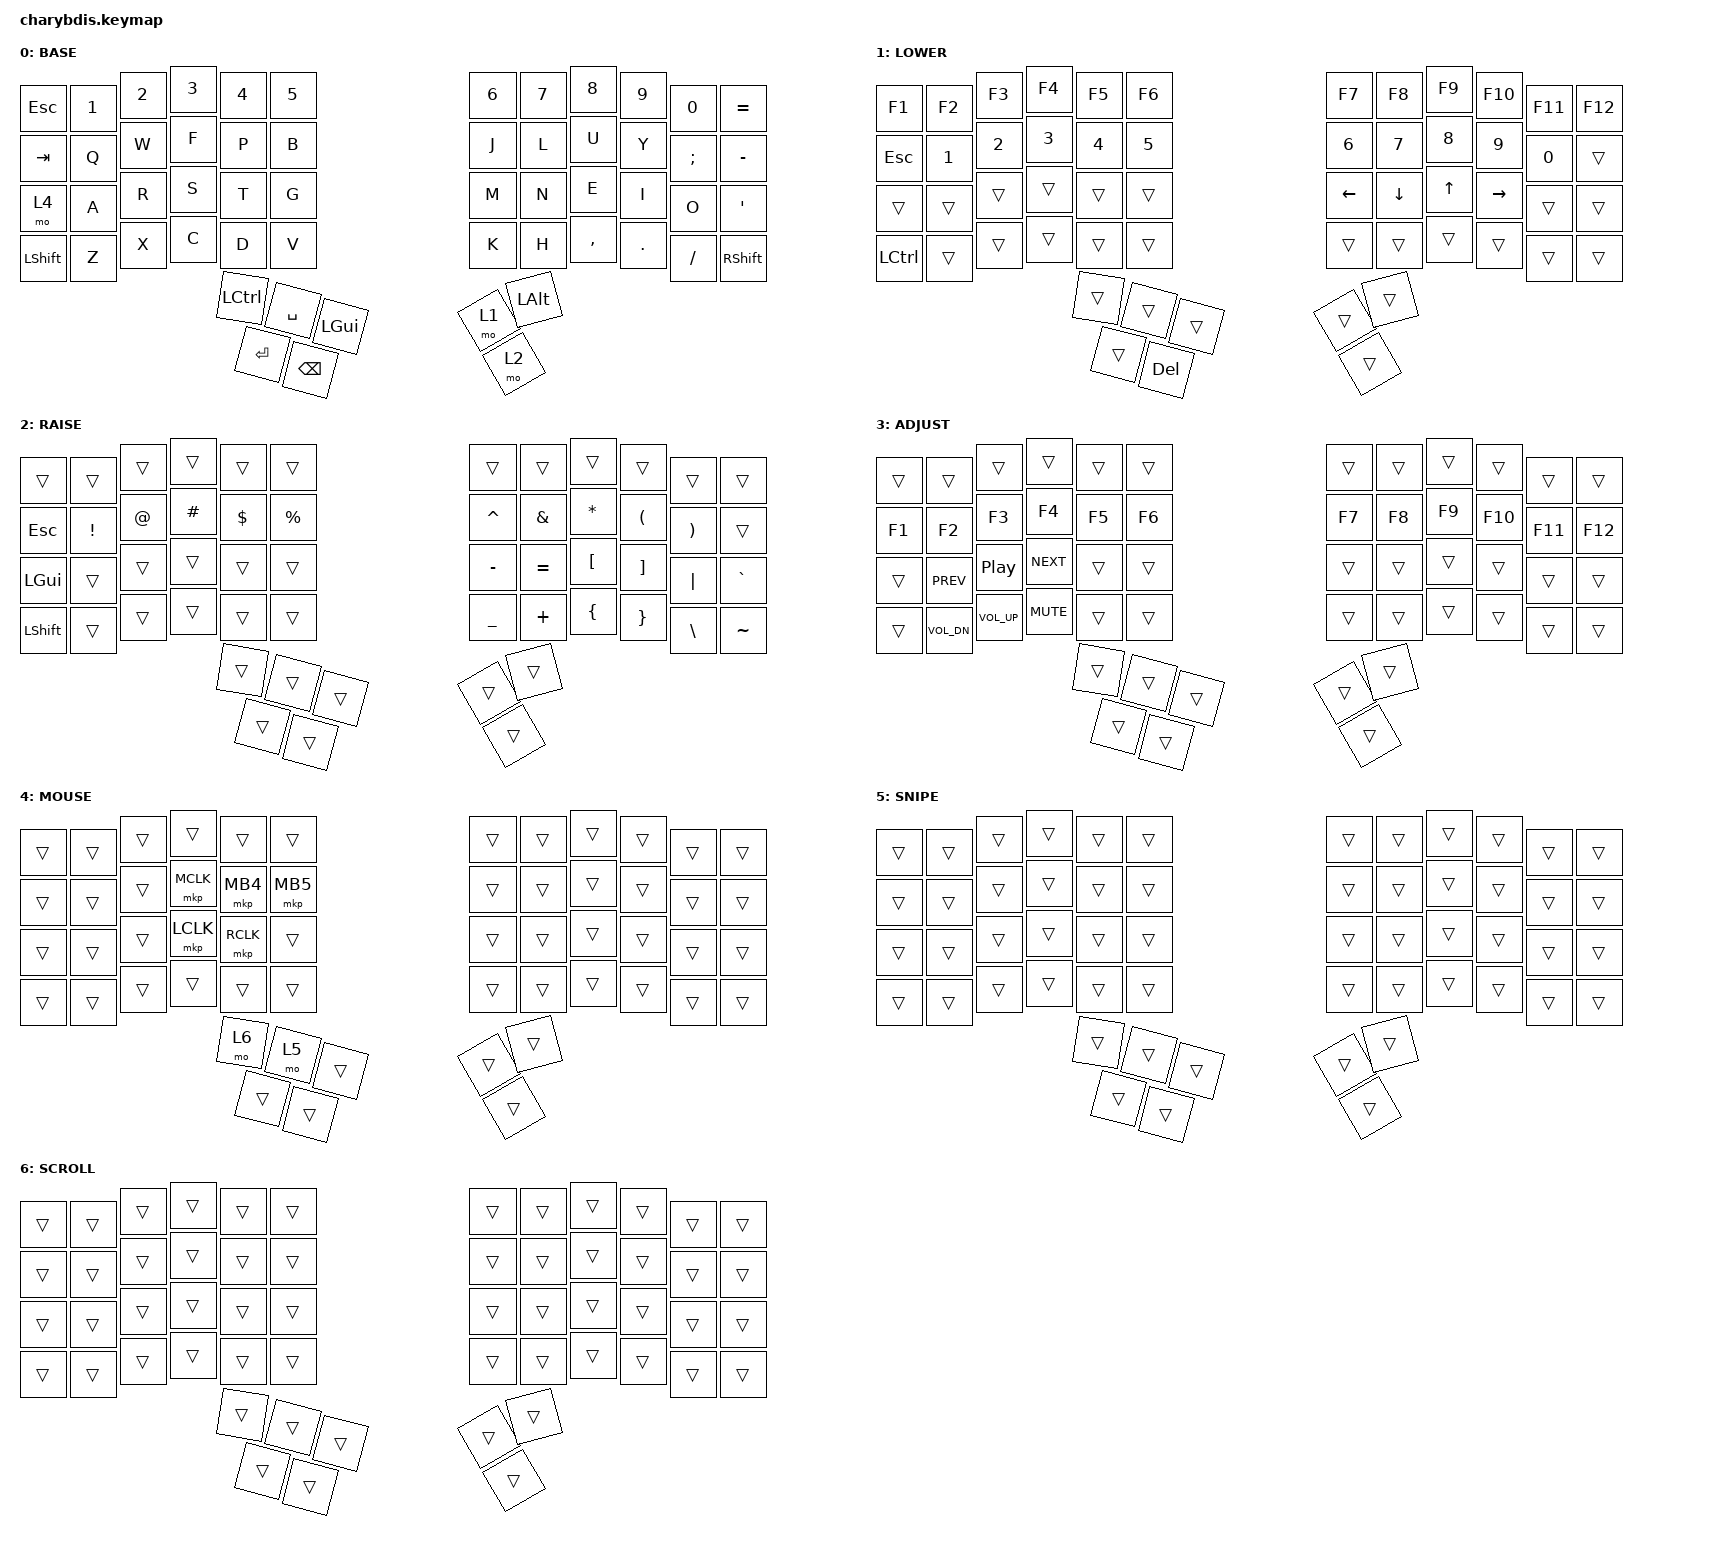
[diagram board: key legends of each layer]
#include <behaviors.dtsi>
#include <dt-bindings/zmk/keys.h>
#include <dt-bindings/zmk/pointing.h>

/ {
    conditional_layers {
        compatible = "zmk,conditional-layers";
        tri_layer {
            if-layers = <1 2>;
            then-layer = <3>;
        };
    };

    keymap {
        compatible = "zmk,keymap";

        BASE {
            display-name = "BASE";
            bindings = <
&kp ESC   &kp N1 &kp N2 &kp N3    &kp N4    &kp N5      &kp N6    &kp N7   &kp N8    &kp N9     &kp N0    &kp EQL
&kp TAB   &kp Q  &kp W  &kp F     &kp P     &kp B       &kp J     &kp L    &kp U     &kp Y      &kp SEMI  &kp MINUS
&mo 4     &kp A  &kp R  &kp S     &kp T     &kp G       &kp M     &kp N    &kp E     &kp I      &kp O     &kp SQT
&kp LSHFT &kp Z  &kp X  &kp C     &kp D     &kp V       &kp K     &kp H    &kp COMMA &kp PERIOD &kp SLASH &kp RSHFT
                        &kp LCTRL &kp SPACE &kp LGUI    &kp ENTER &kp BSPC
                                  &mo 1     &kp LALT    &mo 2
            >;
        };

        LOWER {
            display-name = "LOWER";
            bindings = <
&kp F1     &kp F2  &kp F3  &kp F4  &kp F5  &kp F6    &kp F7    &kp F8      &kp F9  &kp F10    &kp F11  &kp F12
&kp ESC    &kp N1  &kp N2  &kp N3  &kp N4  &kp N5    &kp N6    &kp N7      &kp N8  &kp N9     &kp N0   &trans
&trans     &trans  &trans  &trans  &trans  &trans    &kp LEFT  &kp DOWN    &kp UP  &kp RIGHT  &trans   &trans
&kp LCTRL  &trans  &trans  &trans  &trans  &trans    &trans    &trans      &trans  &trans     &trans   &trans
                           &trans  &trans  &trans    &trans    &kp DELETE
                                   &trans  &trans    &trans
            >;
        };

        RAISE {
            display-name = "RAISE";
            bindings = <
&trans    &trans   &trans &trans   &trans   &trans      &trans    &trans    &trans    &trans   &trans   &trans
&kp ESC   &kp EXCL &kp AT &kp HASH &kp DLLR &kp PRCNT   &kp CARET &kp AMPS  &kp ASTRK &kp LPAR &kp RPAR &trans
&kp LGUI  &trans   &trans &trans   &trans   &trans      &kp MINUS &kp EQUAL &kp LBKT  &kp RBKT &kp PIPE &kp GRAVE
&kp LSHFT &trans   &trans &trans   &trans   &trans      &kp UNDER &kp PLUS  &kp LBRC  &kp RBRC &kp BSLH &kp TILDE
                          &trans   &trans   &trans      &trans     &trans
                                   &trans   &trans      &trans
            >;
        };

        ADJUST {
            display-name = "ADJUST";
            bindings = <
&trans &trans       &trans           &trans     &trans &trans   &trans &trans &trans &trans  &trans  &trans
&kp F1 &kp F2       &kp F3           &kp F4     &kp F5 &kp F6   &kp F7 &kp F8 &kp F9 &kp F10 &kp F11 &kp F12
&trans &kp C_PREV   &kp C_PLAY_PAUSE &kp C_NEXT &trans &trans   &trans &trans &trans &trans  &trans  &trans
&trans &kp C_VOL_DN &kp C_VOL_UP     &kp C_MUTE &trans &trans   &trans &trans &trans &trans  &trans  &trans
                                     &trans     &trans &trans   &trans &trans
                                                &trans &trans   &trans
            >;
        };

        MOUSE {
            display-name = "MOUSE";
            bindings = <
&trans &trans &trans &trans    &trans    &trans    &trans  &trans  &trans  &trans  &trans  &trans
&trans &trans &trans &mkp MCLK &mkp MB4  &mkp MB5  &trans  &trans  &trans  &trans  &trans  &trans
&trans &trans &trans &mkp LCLK &mkp RCLK &trans    &trans  &trans  &trans  &trans  &trans  &trans
&trans &trans &trans &trans    &trans    &trans    &trans  &trans  &trans  &trans  &trans  &trans
                     &mo 6     &mo 5     &trans    &trans  &trans
                               &trans    &trans    &trans
            >;
        };

        SNIPE {
            display-name = "SNIPE";
            bindings = <
&trans  &trans  &trans  &trans  &trans  &trans    &trans  &trans  &trans  &trans  &trans  &trans
&trans  &trans  &trans  &trans  &trans  &trans    &trans  &trans  &trans  &trans  &trans  &trans
&trans  &trans  &trans  &trans  &trans  &trans    &trans  &trans  &trans  &trans  &trans  &trans
&trans  &trans  &trans  &trans  &trans  &trans    &trans  &trans  &trans  &trans  &trans  &trans
                        &trans  &trans  &trans    &trans  &trans
                                &trans  &trans    &trans
            >;
        };

        SCROLL {
            display-name = "SCROLL";
            bindings = <
&trans  &trans  &trans  &trans  &trans  &trans    &trans  &trans  &trans  &trans  &trans  &trans
&trans  &trans  &trans  &trans  &trans  &trans    &trans  &trans  &trans  &trans  &trans  &trans
&trans  &trans  &trans  &trans  &trans  &trans    &trans  &trans  &trans  &trans  &trans  &trans
&trans  &trans  &trans  &trans  &trans  &trans    &trans  &trans  &trans  &trans  &trans  &trans
                        &trans  &trans  &trans    &trans  &trans
                                &trans  &trans    &trans
            >;
        };
    };
};
